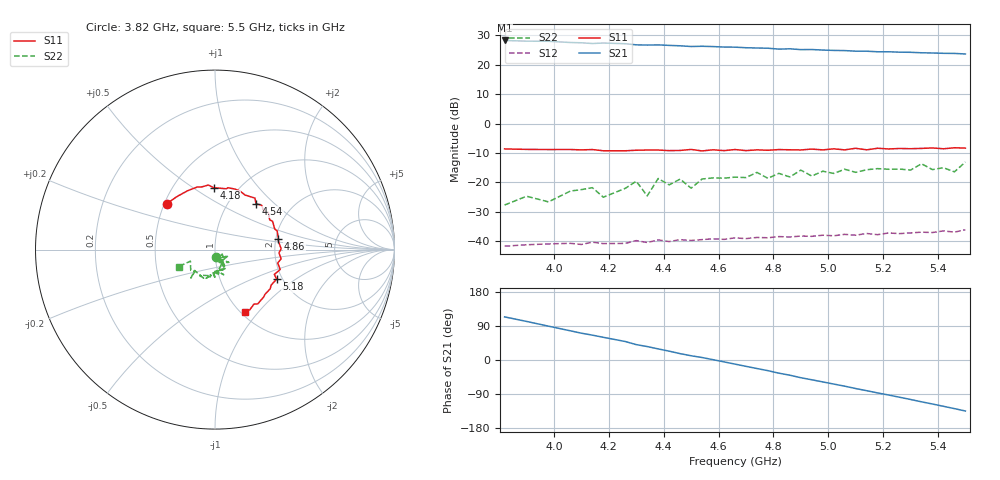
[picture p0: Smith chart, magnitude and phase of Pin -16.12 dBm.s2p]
! RsaToolbox (C) 2015 Rohde & Schwarz America
! Number of points: 39
! Number of ports: 2
! Balanced ports?: No
# Hz S RI R 50
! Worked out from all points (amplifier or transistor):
!   39 points, 3.82 GHz to 5.5 GHz, reference 50 ohm
!   highest |S21| = 28.2 dB at 3.82 GHz (marker M1)
!   |S21| within 3 dB of that: start of sweep to 4.884 GHz
!   unconditionally stable (mu >= 1): start of sweep to end of sweep
!   at 4.18 GHz: K = 2.17, MAG = 27.9 dB, |S12| = -40.7 dB
!   at 4.74 GHz: K = 1.97, MAG = 26.5 dB, |S12| = -38.7 dB
!   at 5.5 GHz: K = 1.75, MAG = 24.8 dB, |S12| = -36.0 dB
!   S11 on the Smith chart (normalised r, x): 3.82 GHz: 0.51, +0.30; 4.18 GHz: 0.78, +0.61; 4.54 GHz: 1.34, +0.77; 4.86 GHz: 2.07, +0.27; 5.18 GHz: 1.86, -0.72; 5.5 GHz: 1.05, -0.85
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3.82e9  -0.2696 0.2545  -10.33 23.47  0.00292 0.00777  0.00624 -0.041
3.98e9  -0.1523 0.3282  0.312 24.83  0.0057 0.00707  0.0397 -0.0249
4.1e9  -0.0752 0.3489  7.713 22.1  0.00722 0.00516  0.029 -0.0698
4.14e9  -0.0371 0.3597  9.389 20.73  0.00822 0.00518  0.0743 -0.0338
4.18e9  -0.00691 0.3448  11.64 20.07  0.00822 0.0041  0.000262 -0.0563
4.26e9  0.0636 0.3389  14.87 16.97  0.00877 0.00296  0.03 -0.0737
4.3e9  0.0716 0.3449  16.4 14.05  0.01 0.00239  0.0775 -0.0709
4.38e9  0.1375 0.3274  18.81 10.54  0.0106 0.000639  0.0524 -0.1044
4.46e9  0.1771 0.3011  19.93 6.013  0.0107 -0.00104  0.0576 -0.0984
4.5e9  0.2227 0.2869  19.86 3.928  0.0102 -0.00168  0.0434 -0.0672
4.54e9  0.2286 0.2556  20.3 2.327  0.0104 -0.00273  0.0206 -0.1126
4.66e9  0.2974 0.2063  19.39 -3.714  0.0103 -0.00498  0.0525 -0.1114
4.78e9  0.3329 0.1145  16.7 -8.921  0.00827 -0.00803  0.00937 -0.1173
4.82e9  0.346 0.1046  15.01 -10.43  0.00863 -0.00844  0.0267 -0.1402
4.86e9  0.3537 0.0577  14.15 -11.92  0.00716 -0.00949  -0.0143 -0.1231
4.94e9  0.3686 0.00441  11.03 -14.22  0.00591 -0.0107  -0.00709 -0.1283
5.06e9  0.3495 -0.0746  6.172 -16.12  0.00323 -0.0128  -0.0491 -0.1603
5.18e9  0.343 -0.1647  0.9026 -16.46  0.000441 -0.013  -0.0632 -0.1597
5.22e9  0.3125 -0.1984  -0.6914 -16.47  -0.00113 -0.0139  -0.0838 -0.1449
5.3e9  0.2788 -0.249  -3.952 -15.66  -0.00327 -0.0136  -0.1134 -0.116
5.38e9  0.2385 -0.3024  -6.925 -14.11  -0.00561 -0.013  -0.1119 -0.1215
5.5e9  0.1662 -0.345  -10.62 -10.77  -0.00909 -0.0129  -0.2013 -0.0945
